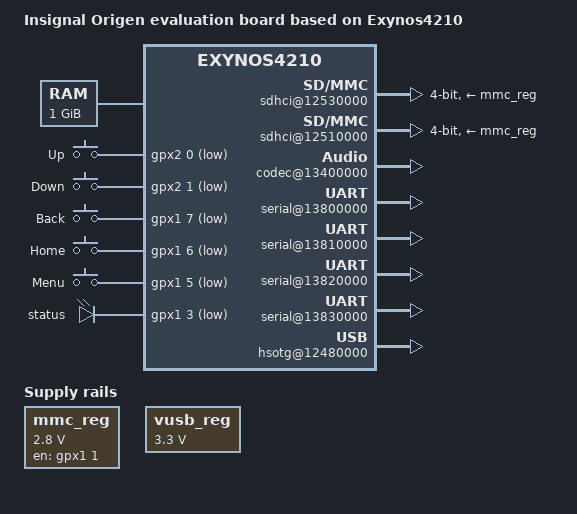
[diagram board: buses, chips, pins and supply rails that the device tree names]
/*
 * Samsung's Exynos4210 based Origen board device tree source
 *
 * Copyright (c) 2010-2011 Samsung Electronics Co., Ltd.
 *		http://www.samsung.com
 * Copyright (c) 2010-2011 Linaro Ltd.
 *		www.linaro.org
 *
 * Device tree source file for Insignal's Origen board which is based on
 * Samsung's Exynos4210 SoC.
 *
 * This program is free software; you can redistribute it and/or modify
 * it under the terms of the GNU General Public License version 2 as
 * published by the Free Software Foundation.
*/

/dts-v1/;
/include/ "exynos4210.dtsi"

/ {
	model = "Insignal Origen evaluation board based on Exynos4210";
	compatible = "insignal,origen", "samsung,exynos4210";

	memory {
		reg = <0x40000000 0x10000000
		       0x50000000 0x10000000
		       0x60000000 0x10000000
		       0x70000000 0x10000000>;

		reserved-memory {
			#address-cells = <1>;
			#size-cells = <1>;

			mfc_l_mem: mfc_l_region@43000000 {
				compatible = "linux,contiguous-memory-region", "reserved-memory-region";
				reg = <0x43000000 0x1000000>;
			};

			mfc_r_mem: mfc_r_region@51000000 {
				compatible = "linux,contiguous-memory-region", "reserved-memory-region";
				reg = <0x51000000 0x1000000>;
			};
		};
	};

	chosen {
		bootargs ="root=/dev/ram0 rw ramdisk=8192 initrd=0x41000000,8M console=ttySAC2,115200 init=/linuxrc";
	};

	mmc_reg: voltage-regulator {
	        compatible = "regulator-fixed";
		regulator-name = "VMEM_VDD_2.8V";
		regulator-min-microvolt = <2800000>;
		regulator-max-microvolt = <2800000>;
		gpio = <&gpx1 1 0>;
		enable-active-high;
	};

	sdhci@12530000 {
		bus-width = <4>;
		pinctrl-0 = <&sd2_clk &sd2_cmd &sd2_bus4 &sd2_cd>;
		pinctrl-names = "default";
		vmmc-supply = <&mmc_reg>;
		status = "okay";
	};

	sdhci@12510000 {
		bus-width = <4>;
		pinctrl-0 = <&sd0_clk &sd0_cmd &sd0_bus4 &sd0_cd>;
		pinctrl-names = "default";
		vmmc-supply = <&mmc_reg>;
		status = "okay";
	};

	g2d@12800000 {
		status = "okay";
	};

	codec@13400000 {
		status = "okay";

		memport@0 {
			memory-region = <&mfc_l_mem>;
		};

		memport@1 {
			memory-region = <&mfc_r_mem>;
		};
	};

	serial@13800000 {
		status = "okay";
	};

	serial@13810000 {
		status = "okay";
	};

	serial@13820000 {
		status = "okay";
	};

	serial@13830000 {
		status = "okay";
	};

	gpio_keys {
		compatible = "gpio-keys";
		#address-cells = <1>;
		#size-cells = <0>;

		up {
			label = "Up";
			gpios = <&gpx2 0 1>;
			linux,code = <103>;
			gpio-key,wakeup;
		};

		down {
			label = "Down";
			gpios = <&gpx2 1 1>;
			linux,code = <108>;
			gpio-key,wakeup;
		};

		back {
			label = "Back";
			gpios = <&gpx1 7 1>;
			linux,code = <158>;
			gpio-key,wakeup;
		};

		home {
			label = "Home";
			gpios = <&gpx1 6 1>;
			linux,code = <102>;
			gpio-key,wakeup;
		};

		menu {
			label = "Menu";
			gpios = <&gpx1 5 1>;
			linux,code = <139>;
			gpio-key,wakeup;
		};
	};

	leds {
		compatible = "gpio-leds";
		status {
			gpios = <&gpx1 3 1>;
			linux,default-trigger = "heartbeat";
		};
	};

	fixed-rate-clocks {
		xxti {
			compatible = "samsung,clock-xxti";
			clock-frequency = <0>;
		};

		xusbxti {
			compatible = "samsung,clock-xusbxti";
			clock-frequency = <24000000>;
		};
	};

	vusb_reg: voltage-regulator-1 {
	        compatible = "regulator-fixed";
		regulator-name = "VUSB_DUMMY";
		regulator-min-microvolt = <3300000>;
		regulator-max-microvolt = <3300000>;
	};

	usbphy@125B0000 {
		status = "okay";
	};

	hsotg@12480000 {
		status = "okay";
		vusb_d-supply = <&vusb_reg>;
		vusb_a-supply = <&vusb_reg>;
	};
};
